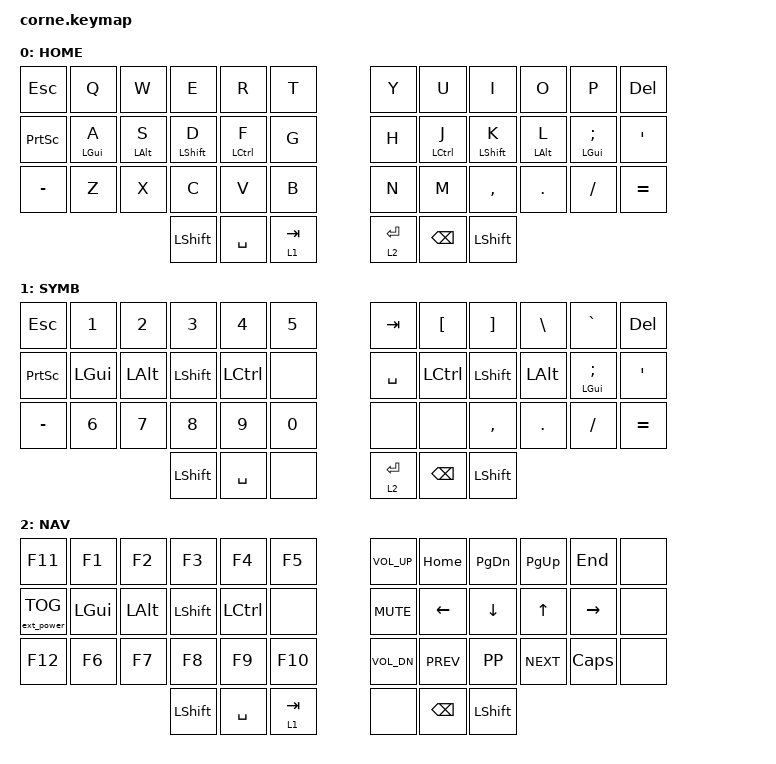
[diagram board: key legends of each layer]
#include <behaviors.dtsi>
#include <dt-bindings/zmk/keys.h>
#include <dt-bindings/zmk/bt.h>
#include <dt-bindings/zmk/ext_power.h>
#include <dt-bindings/zmk/rgb.h>

&mt {
	tapping-term-ms = <200>;
	quick-tap-ms = <200>;
	require-prior-idle-ms=<175>;
	flavor = "balanced";
};

/ {
	keymap {
		compatible = "zmk,keymap";

		layer_0 {
			bindings = <
				&kp ESC				&kp Q			&kp W				&kp E			&kp R			&kp T						&kp Y			&kp U				&kp I				&kp O			&kp P				&kp DEL
				&kp PSCRN			&mt LGUI A		&mt LALT S			&mt LSHFT D		&mt LCTRL F		&kp G						&kp H			&mt LCTRL J			&mt LSHFT K			&mt LALT L		&mt LGUI SEMI		&kp SQT
				&kp MINUS			&kp Z			&kp X				&kp C			&kp V			&kp B						&kp N			&kp M				&kp COMMA			&kp DOT			&kp FSLH			&kp EQUAL
																		&kp LSHFT		&kp SPC			&lt 1 TAB					&lt 2 ENTER		&kp BSPC			&kp LSHFT
			>;
			display-name = "HOME";
		};

		layer_1 {
			bindings = <
				&kp ESC				&kp N1			&kp N2				&kp N3			&kp N4			&kp N5						&kp TAB			&kp LBKT 			&kp RBKT			&kp BSLH		&kp GRAVE			&kp DEL
				&kp PSCRN			&kp	LGUI		&kp LALT 			&kp LSHFT 		&kp LCTRL 		&none						&kp SPC			&kp LCTRL 			&kp LSHFT			&kp LALT		&mt LGUI SEMI		&kp SQT
				&kp MINUS			&kp N6			&kp N7				&kp N8			&kp N9			&kp N0						&none 			&none				&kp COMMA			&kp DOT			&kp FSLH			&kp EQUAL
																		&kp LSHFT		&kp SPC			&none						&lt 2 ENTER		&kp BSPC			&kp LSHFT
			>;
			display-name = "SYMB";
		};

		layer_2 {
			bindings = <
				&kp F11				&kp F1 			&kp F2				&kp F3			&kp F4			&kp F5						&kp C_VOL_UP	&kp HOME			&kp PG_DN			&kp PG_UP		&kp END				&none
				&ext_power EP_TOG	&kp LGUI		&kp LALT			&kp LSHFT		&kp LCTRL		&none						&kp K_MUTE		&kp LEFT			&kp DOWN			&kp UP			&kp RIGHT			&none
				&kp F12				&kp F6			&kp F7				&kp F8			&kp F9			&kp F10						&kp C_VOL_DN	&kp K_PREV			&kp K_PP			&kp K_NEXT		&kp CAPS			&none
																		&kp LSHFT		&kp SPC			&lt 1 TAB					&none			&kp BSPC			&kp LSHFT
			>;
			display-name="NAV";
		};
	};
};
